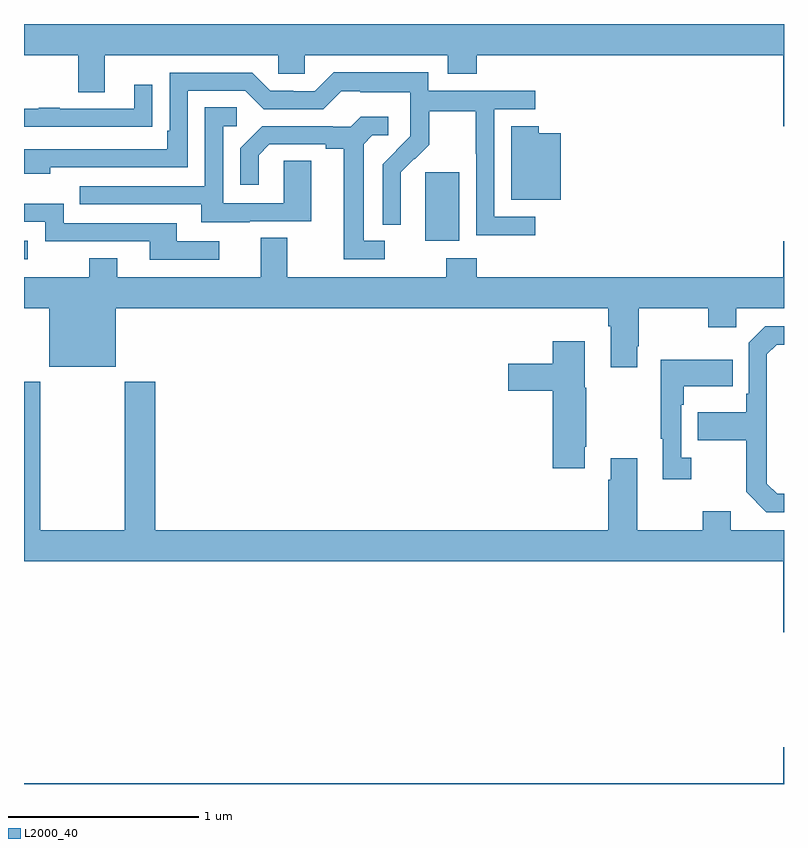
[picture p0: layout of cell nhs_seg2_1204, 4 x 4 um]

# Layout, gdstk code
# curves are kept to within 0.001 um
import gdstk
lib = gdstk.Library(unit=1e-6, precision=1e-09)
def R(c, l, rs):  # rectangles x0, y0, x1, y1
    for r in rs: c.add(gdstk.rectangle(r[:2], r[2:], *l))
def P(c, l, *ps):  # polygons
    for p in ps: c.add(gdstk.Polygon(p, *l))
L2000_40 = (2000, 40)

nhs_seg2_1204 = lib.new_cell('nhs_seg2_1204')
R(nhs_seg2_1204, L2000_40, [(173,646.563,173.02,646.659), (175.112,646.658,175.291,647.019)])
P(nhs_seg2_1204, L2000_40, [(177,647.8),(173,647.8),(173,647.636),(173.285,647.636),(173.285,647.442),(173.425,647.442),(173.425,647.636),(174.339,647.636),(174.339,647.538),(174.477,647.538),(174.477,647.636),(175.229,647.636),(175.229,647.537),(175.382,647.537),(175.382,647.636),(176.996,647.636),(176.996,647.262),(177,647.262)],
  [(175.69,646.785),(175.476,646.785),(175.476,647.352),(175.69,647.352),(175.69,647.448),(175.128,647.448),(175.128,647.545),(174.631,647.545),(174.531,647.445),(174.416,647.445),(174.416,647.448),(174.297,647.448),(174.201,647.544),(173.766,647.544),(173.766,647.239),(173.753,647.239),(173.753,647.142),(173,647.142),(173,647.012),(173.138,647.012),(173.138,647.046),(173.862,647.046),(173.862,647.448),(174.165,647.448),(174.261,647.352),(174.576,647.352),(174.669,647.445),(174.769,647.445),(174.769,647.441),(175.032,647.441),(175.032,647.307),(175.034,647.307),(175.034,647.21),(174.888,647.062),(174.888,646.744),(174.984,646.744),(174.983,647.021),(175.053,647.091),(175.056,647.088),(175.133,647.165),(175.133,647.34),(175.378,647.34),(175.378,647.116),(175.38,647.116),(175.38,646.687),(175.69,646.687)],
  [(173.573,647.26),(173.675,647.26),(173.675,647.479),(173.579,647.479),(173.579,647.355),(173.189,647.355),(173.189,647.36),(173.077,647.36),(173.077,647.355),(173,647.355),(173,647.259),(173.573,647.259)],
  [(174.187,646.761),(174.511,646.761),(174.511,647.081),(174.366,647.081),(174.366,646.857),(174.048,646.857),(174.048,647.262),(174.121,647.262),(174.121,647.363),(173.952,647.363),(173.952,646.947),(173.293,646.947),(173.293,646.851),(173.933,646.851),(173.933,646.757),(174.187,646.757)],
  [(174.898,646.659),(174.787,646.659),(174.787,647.167),(174.834,647.214),(174.916,647.214),(174.916,647.311),(174.772,647.311),(174.72,647.259),(174.626,647.259),(174.626,647.262),(174.254,647.262),(174.138,647.146),(174.138,646.953),(174.235,646.953),(174.235,647.109),(174.292,647.166),(174.587,647.166),(174.587,647.144),(174.683,647.144),(174.683,646.563),(174.898,646.563)],
  [(175.825,647.224),(175.709,647.224),(175.709,647.263),(175.565,647.263),(175.565,646.874),(175.825,646.874)],
  [(174.028,646.656),(173.803,646.656),(173.803,646.752),(173.208,646.752),(173.208,646.855),(173,646.855),(173,646.758),(173.112,646.758),(173.112,646.656),(173.663,646.656),(173.663,646.56),(174.028,646.56)],
  [(176.227,646.105),(176.235,646.105),(176.235,646.304),(176.602,646.304),(176.602,646.205),(176.748,646.205),(176.748,646.304),(177,646.304),(177,646.657),(176.996,646.657),(176.996,646.468),(175.382,646.468),(175.382,646.567),(175.222,646.567),(175.222,646.468),(174.385,646.468),(174.385,646.676),(174.245,646.676),(174.245,646.468),(173.491,646.468),(173.491,646.567),(173.344,646.567),(173.344,646.468),(173,646.468),(173,646.304),(173.132,646.304),(173.132,645.995),(173.482,645.995),(173.482,646.304),(176.075,646.304),(176.075,646.208),(176.087,646.208),(176.087,645.993),(176.227,645.993)],
  [(177,645.327),(176.964,645.327),(176.91,645.381),(176.91,646.062),(176.961,646.113),(177,646.113),(177,646.209),(176.901,646.209),(176.814,646.122),(176.814,645.853),(176.802,645.853),(176.802,645.757),(176.545,645.757),(176.545,645.61),(176.802,645.61),(176.802,645.337),(176.907,645.231),(177,645.231)],
  [(175.951,645.574),(175.959,645.574),(175.959,645.885),(175.951,645.885),(175.951,646.129),(175.784,646.129),(175.784,646.011),(175.548,646.011),(175.548,645.869),(175.784,645.869),(175.784,645.462),(175.951,645.462)],
  [(176.512,645.518),(176.46,645.518),(176.46,645.797),(176.473,645.797),(176.473,645.893),(176.729,645.893),(176.729,646.033),(176.352,646.033),(176.352,645.617),(176.363,645.617),(176.363,645.405),(176.512,645.405)],
  [(177,645.136),(176.719,645.136),(176.719,645.235),(176.572,645.235),(176.572,645.136),(176.227,645.136),(176.227,645.514),(176.087,645.514),(176.087,645.401),(176.075,645.401),(176.075,645.136),(173.69,645.136),(173.69,645.916),(173.53,645.916),(173.53,645.136),(173.085,645.136),(173.085,645.916),(173,645.916),(173,644.972),(176.996,644.972),(176.996,644.598),(177,644.598)],
  [(177,643.993),(176.996,643.993),(176.996,643.804),(173,643.804),(173,643.8),(177,643.8)])

lib.write_gds('nhs_seg2_1204.gds')
